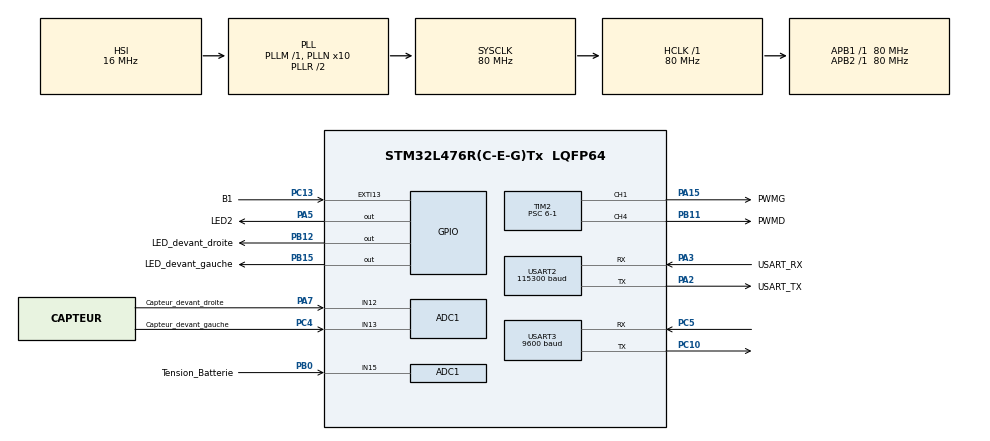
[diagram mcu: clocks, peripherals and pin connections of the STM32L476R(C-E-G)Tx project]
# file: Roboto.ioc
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ADC1.Channel-0\#ChannelRegularConversion=ADC_CHANNEL_15
ADC1.NbrOfConversionFlag=1
ADC1.OffsetNumber-0\#ChannelRegularConversion=ADC_OFFSET_NONE
ADC1.Rank-0\#ChannelRegularConversion=1
ADC1.SamplingTime-0\#ChannelRegularConversion=ADC_SAMPLETIME_640CYCLES_5
ADC1.master=1
Mcu.Family=STM32L4
Mcu.Name=STM32L476R(C-E-G)Tx
Mcu.Package=LQFP64
NVIC.ADC1_2_IRQn=true\:0\:0\:false\:false\:true\:true\:true\:true
NVIC.EXTI15_10_IRQn=true\:0\:0\:false\:false\:true\:true\:true\:true
NVIC.PriorityGroup=NVIC_PRIORITYGROUP_4
NVIC.TIM6_DAC_IRQn=true\:0\:0\:false\:false\:true\:true\:true\:true
PA13\ (JTMS-SWDIO).GPIO_Label=TMS
PA13\ (JTMS-SWDIO).Mode=Serial_Wire
PA13\ (JTMS-SWDIO).Signal=SYS_JTMS-SWDIO
PA14\ (JTCK-SWCLK).GPIO_Label=TCK
PA14\ (JTCK-SWCLK).Mode=Serial_Wire
PA14\ (JTCK-SWCLK).Signal=SYS_JTCK-SWCLK
PA15\ (JTDI).GPIO_Label=PWMG
PA15\ (JTDI).Signal=S_TIM2_CH1
PA2.GPIO_Label=USART_TX
PA2.GPIO_Mode=GPIO_MODE_AF_PP
PA2.GPIO_PuPd=GPIO_NOPULL
PA2.GPIO_Speed=GPIO_SPEED_FREQ_VERY_HIGH
PA2.Mode=Asynchronous
PA2.Signal=USART2_TX
PA3.GPIO_Label=USART_RX
PA3.GPIO_Mode=GPIO_MODE_AF_PP
PA3.GPIO_PuPd=GPIO_NOPULL
PA3.GPIO_Speed=GPIO_SPEED_FREQ_VERY_HIGH
PA3.Mode=Asynchronous
PA3.Signal=USART2_RX
PA5.GPIO_Label=LED2
PA5.Signal=GPIO_Output
PA7.GPIO_Label=Capteur_devant_droite
PA7.Signal=ADCx_IN12
PB0.GPIO_Label=Tension_Batterie
PB0.Signal=ADCx_IN15
PB11.GPIO_Label=PWMD
PB11.Signal=S_TIM2_CH4
PB12.GPIO_Label=LED_devant_droite
PB12.Signal=GPIO_Output
PB15.GPIO_Label=LED_devant_gauche
PB15.Signal=GPIO_Output
PB3\ (JTDO-TRACESWO).GPIO_Label=SWO
PB3\ (JTDO-TRACESWO).Signal=SYS_JTDO-SWO
PC10.Mode=Asynchronous
PC10.Signal=USART3_TX
PC13.GPIO_Label=B1
PC13.Signal=GPXTI13
PC14-OSC32_IN\ (PC14).Mode=LSE-External-Oscillator
PC14-OSC32_IN\ (PC14).Signal=RCC_OSC32_IN
PC15-OSC32_OUT\ (PC15).Mode=LSE-External-Oscillator
PC15-OSC32_OUT\ (PC15).Signal=RCC_OSC32_OUT
PC4.GPIO_Label=Capteur_devant_gauche
PC4.Signal=ADCx_IN13
PC5.Mode=Asynchronous
PC5.Signal=USART3_RX
PH0-OSC_IN\ (PH0).Signal=RCC_OSC_IN
PH1-OSC_OUT\ (PH1).Signal=RCC_OSC_OUT
ProjectManager.HeapSize=0x200
ProjectManager.StackSize=0x400
ProjectManager.TargetToolchain=STM32CubeIDE
RCC.ADCFreq_Value=64000000
RCC.AHBFreq_Value=80000000
RCC.APB1Freq_Value=80000000
RCC.APB1TimFreq_Value=80000000
RCC.APB2Freq_Value=80000000
RCC.APB2TimFreq_Value=80000000
RCC.CortexFreq_Value=80000000
RCC.HCLKFreq_Value=80000000
RCC.HSE_VALUE=8000000
RCC.HSI_VALUE=16000000
RCC.MSI_VALUE=4000000
RCC.PLLN=10
RCC.PLLSourceVirtual=RCC_PLLSOURCE_HSI
RCC.PREFETCH_ENABLE=1
RCC.SYSCLKFreq_VALUE=80000000
RCC.SYSCLKSource=RCC_SYSCLKSOURCE_PLLCLK
RCC.USART3CLockSelection=RCC_USART3CLKSOURCE_HSI
RCC.USBFreq_Value=64000000
RCC.VCOOutputFreq_Value=160000000
SH.ADCx_IN12.0=ADC1_IN12,IN12-Single-Ended
SH.ADCx_IN13.0=ADC1_IN13,IN13-Single-Ended
SH.ADCx_IN15.0=ADC1_IN15,IN15-Single-Ended
SH.S_TIM2_CH1.0=TIM2_CH1,PWM Generation1 CH1
SH.S_TIM2_CH4.0=TIM2_CH4,PWM Generation4 CH4
TIM2.Channel-PWM\ Generation1\ CH1=TIM_CHANNEL_1
TIM2.Channel-PWM\ Generation4\ CH4=TIM_CHANNEL_4
TIM2.Period=65536
TIM2.Prescaler=6-1
TIM6.Prescaler=2-1
USART2.BaudRate=115300
USART2.VirtualMode-Asynchronous=VM_ASYNC
USART3.BaudRate=9600
USART3.VirtualMode-Asynchronous=VM_ASYNC
VP_TIM2_VS_ClockSourceINT.Mode=Internal
VP_TIM6_VS_ClockSourceINT.Mode=Enable_Timer
board=NUCLEO-L476RG

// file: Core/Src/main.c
/* USER CODE BEGIN Header */
/**
  ******************************************************************************
  * @file           : main.c
  * @brief          : Main program body
  ******************************************************************************
  * @attention
  *
  * Copyright (c) 2024 STMicroelectronics.
  * All rights reserved.
  *
  * This software is licensed under terms that can be found in the LICENSE file
  * in the root directory of this software component.
  * If no LICENSE file comes with this software, it is provided AS-IS.
  *
  ******************************************************************************
  */
/* USER CODE END Header */
#include "main.h"

/* USER CODE BEGIN PD */
#define NO_MOVEMENT 0
#define FORWARD 1
#define LEFT 2
#define RIGHT 3
#define RAPPORT_CYCLIQUE 32768 // = 65536/2 aka rc = 50%
/* USER CODE END PD */

ADC_HandleTypeDef hadc1;

TIM_HandleTypeDef htim2;
TIM_HandleTypeDef htim6;

UART_HandleTypeDef huart2;
UART_HandleTypeDef huart3;

/* USER CODE BEGIN PV */
volatile uint8_t running;
volatile uint8_t movement_type;
// 0 = rien, 1 = tout droit, 1 = gauche, 2 = droite
/* USER CODE END PV */

void SystemClock_Config(void);
static void MX_GPIO_Init(void);
static void MX_USART2_UART_Init(void);
static void MX_ADC1_Init(void);
static void MX_TIM2_Init(void);
static void MX_TIM6_Init(void);
static void MX_USART3_UART_Init(void);

int main(void)
{

  /* USER CODE BEGIN 1 */
	running = 0;
	movement_type = NO_MOVEMENT;
  /* USER CODE END 1 */

  /* MCU Configuration--------------------------------------------------------*/

  /* Reset of all peripherals, Initializes the Flash interface and the Systick. */
  HAL_Init();

  /* Configure the system clock */
  SystemClock_Config();

  /* Initialize all configured peripherals */
  MX_GPIO_Init();
  MX_USART2_UART_Init();
  MX_ADC1_Init();
  MX_TIM2_Init();
  MX_TIM6_Init();
  MX_USART3_UART_Init();
  /* USER CODE BEGIN 2 */
  HAL_TIM_PWM_Start(&htim2, TIM_CHANNEL_1);
  HAL_TIM_PWM_Start(&htim2, TIM_CHANNEL_4);

  /* USER CODE END 2 */

  /* Infinite loop */
  /* USER CODE BEGIN WHILE */
  while (1)
  {
	  // robot movement
	  if(movement_type == NO_MOVEMENT){
		  __HAL_TIM_SET_COMPARE(&htim2, TIM_CHANNEL_1, 0);
		  __HAL_TIM_SET_COMPARE(&htim2, TIM_CHANNEL_4, 0);
	  }
	  else if(movement_type == FORWARD){
		  __HAL_TIM_SET_COMPARE(&htim2, TIM_CHANNEL_1, RAPPORT_CYCLIQUE);
		  __HAL_TIM_SET_COMPARE(&htim2, TIM_CHANNEL_4, RAPPORT_CYCLIQUE);
	  }
	  else if(movement_type == LEFT){
		  __HAL_TIM_SET_COMPARE(&htim2, TIM_CHANNEL_1, RAPPORT_CYCLIQUE);
		  __HAL_TIM_SET_COMPARE(&htim2, TIM_CHANNEL_4, RAPPORT_CYCLIQUE);
	  }
	  else if(movement_type == RIGHT){ //RIGHT
		  __HAL_TIM_SET_COMPARE(&htim2, TIM_CHANNEL_1, RAPPORT_CYCLIQUE);
		  __HAL_TIM_SET_COMPARE(&htim2, TIM_CHANNEL_4, RAPPORT_CYCLIQUE);
	  }

	  //is the robot running
	  if (running) {
		  HAL_GPIO_WritePin(LED2_GPIO_Port, LED2_Pin, SET);
		  movement_type = FORWARD;
	  }
	  else{
		  HAL_GPIO_WritePin(LED2_GPIO_Port, LED2_Pin, RESET);
		  movement_type = NO_MOVEMENT;
	  }
    /* USER CODE END WHILE */

  }
}

void SystemClock_Config(void)
{
  RCC_OscInitTypeDef RCC_OscInitStruct = {0};
  RCC_ClkInitTypeDef RCC_ClkInitStruct = {0};

  /** Configure the main internal regulator output voltage
  */
  if (HAL_PWREx_ControlVoltageScaling(PWR_REGULATOR_VOLTAGE_SCALE1) != HAL_OK)
  {
    Error_Handler();
  }

  /** Initializes the RCC Oscillators according to the specified parameters
  * in the RCC_OscInitTypeDef structure.
  */
  RCC_OscInitStruct.OscillatorType = RCC_OSCILLATORTYPE_HSI;
  RCC_OscInitStruct.HSIState = RCC_HSI_ON;
  RCC_OscInitStruct.HSICalibrationValue = RCC_HSICALIBRATION_DEFAULT;
  RCC_OscInitStruct.PLL.PLLState = RCC_PLL_ON;
  RCC_OscInitStruct.PLL.PLLSource = RCC_PLLSOURCE_HSI;
  RCC_OscInitStruct.PLL.PLLM = 1;
  RCC_OscInitStruct.PLL.PLLN = 10;
  RCC_OscInitStruct.PLL.PLLP = RCC_PLLP_DIV7;
  RCC_OscInitStruct.PLL.PLLQ = RCC_PLLQ_DIV2;
  RCC_OscInitStruct.PLL.PLLR = RCC_PLLR_DIV2;
  if (HAL_RCC_OscConfig(&RCC_OscInitStruct) != HAL_OK)
  {
    Error_Handler();
  }

  /** Initializes the CPU, AHB and APB buses clocks
  */
  RCC_ClkInitStruct.ClockType = RCC_CLOCKTYPE_HCLK|RCC_CLOCKTYPE_SYSCLK
                              |RCC_CLOCKTYPE_PCLK1|RCC_CLOCKTYPE_PCLK2;
  RCC_ClkInitStruct.SYSCLKSource = RCC_SYSCLKSOURCE_PLLCLK;
  RCC_ClkInitStruct.AHBCLKDivider = RCC_SYSCLK_DIV1;
  RCC_ClkInitStruct.APB1CLKDivider = RCC_HCLK_DIV1;
  RCC_ClkInitStruct.APB2CLKDivider = RCC_HCLK_DIV1;

  if (HAL_RCC_ClockConfig(&RCC_ClkInitStruct, FLASH_LATENCY_4) != HAL_OK)
  {
    Error_Handler();
  }
}

static void MX_ADC1_Init(void)
{

  ADC_MultiModeTypeDef multimode = {0};
  ADC_ChannelConfTypeDef sConfig = {0};

  /** Common config
  */
  hadc1.Instance = ADC1;
  hadc1.Init.ClockPrescaler = ADC_CLOCK_ASYNC_DIV1;
  hadc1.Init.Resolution = ADC_RESOLUTION_12B;
  hadc1.Init.DataAlign = ADC_DATAALIGN_RIGHT;
  hadc1.Init.ScanConvMode = ADC_SCAN_DISABLE;
  hadc1.Init.EOCSelection = ADC_EOC_SINGLE_CONV;
  hadc1.Init.LowPowerAutoWait = DISABLE;
  hadc1.Init.ContinuousConvMode = DISABLE;
  hadc1.Init.NbrOfConversion = 1;
  hadc1.Init.DiscontinuousConvMode = DISABLE;
  hadc1.Init.ExternalTrigConv = ADC_SOFTWARE_START;
  hadc1.Init.ExternalTrigConvEdge = ADC_EXTERNALTRIGCONVEDGE_NONE;
  hadc1.Init.DMAContinuousRequests = DISABLE;
  hadc1.Init.Overrun = ADC_OVR_DATA_PRESERVED;
  hadc1.Init.OversamplingMode = DISABLE;
  if (HAL_ADC_Init(&hadc1) != HAL_OK)
  {
    Error_Handler();
  }

  /** Configure the ADC multi-mode
  */
  multimode.Mode = ADC_MODE_INDEPENDENT;
  if (HAL_ADCEx_MultiModeConfigChannel(&hadc1, &multimode) != HAL_OK)
  {
    Error_Handler();
  }

  /** Configure Regular Channel
  */
  sConfig.Channel = ADC_CHANNEL_15;
  sConfig.Rank = ADC_REGULAR_RANK_1;
  sConfig.SamplingTime = ADC_SAMPLETIME_640CYCLES_5;
  sConfig.SingleDiff = ADC_SINGLE_ENDED;
  sConfig.OffsetNumber = ADC_OFFSET_NONE;
  sConfig.Offset = 0;
  if (HAL_ADC_ConfigChannel(&hadc1, &sConfig) != HAL_OK)
  {
    Error_Handler();
  }

}

static void MX_TIM2_Init(void)
{

  TIM_ClockConfigTypeDef sClockSourceConfig = {0};
  TIM_MasterConfigTypeDef sMasterConfig = {0};
  TIM_OC_InitTypeDef sConfigOC = {0};

  htim2.Instance = TIM2;
  htim2.Init.Prescaler = 6-1;
  htim2.Init.CounterMode = TIM_COUNTERMODE_UP;
  htim2.Init.Period = 65536;
  htim2.Init.ClockDivision = TIM_CLOCKDIVISION_DIV1;
  htim2.Init.AutoReloadPreload = TIM_AUTORELOAD_PRELOAD_DISABLE;
  if (HAL_TIM_Base_Init(&htim2) != HAL_OK)
  {
    Error_Handler();
  }
  sClockSourceConfig.ClockSource = TIM_CLOCKSOURCE_INTERNAL;
  if (HAL_TIM_ConfigClockSource(&htim2, &sClockSourceConfig) != HAL_OK)
  {
    Error_Handler();
  }
  if (HAL_TIM_PWM_Init(&htim2) != HAL_OK)
  {
    Error_Handler();
  }
  sMasterConfig.MasterOutputTrigger = TIM_TRGO_RESET;
  sMasterConfig.MasterSlaveMode = TIM_MASTERSLAVEMODE_DISABLE;
  if (HAL_TIMEx_MasterConfigSynchronization(&htim2, &sMasterConfig) != HAL_OK)
  {
    Error_Handler();
  }
  sConfigOC.OCMode = TIM_OCMODE_PWM1;
  sConfigOC.Pulse = 0;
  sConfigOC.OCPolarity = TIM_OCPOLARITY_HIGH;
  sConfigOC.OCFastMode = TIM_OCFAST_DISABLE;
  if (HAL_TIM_PWM_ConfigChannel(&htim2, &sConfigOC, TIM_CHANNEL_1) != HAL_OK)
  {
    Error_Handler();
  }
  if (HAL_TIM_PWM_ConfigChannel(&htim2, &sConfigOC, TIM_CHANNEL_4) != HAL_OK)
  {
    Error_Handler();
  }
  HAL_TIM_MspPostInit(&htim2);

}

static void MX_TIM6_Init(void)
{

  TIM_MasterConfigTypeDef sMasterConfig = {0};

  htim6.Instance = TIM6;
  htim6.Init.Prescaler = 2-1;
  htim6.Init.CounterMode = TIM_COUNTERMODE_UP;
  htim6.Init.Period = 65535;
  htim6.Init.AutoReloadPreload = TIM_AUTORELOAD_PRELOAD_DISABLE;
  if (HAL_TIM_Base_Init(&htim6) != HAL_OK)
  {
    Error_Handler();
  }
  sMasterConfig.MasterOutputTrigger = TIM_TRGO_RESET;
  sMasterConfig.MasterSlaveMode = TIM_MASTERSLAVEMODE_DISABLE;
  if (HAL_TIMEx_MasterConfigSynchronization(&htim6, &sMasterConfig) != HAL_OK)
  {
    Error_Handler();
  }

}

static void MX_USART2_UART_Init(void)
{

  huart2.Instance = USART2;
  huart2.Init.BaudRate = 115300;
  huart2.Init.WordLength = UART_WORDLENGTH_8B;
  huart2.Init.StopBits = UART_STOPBITS_1;
  huart2.Init.Parity = UART_PARITY_NONE;
  huart2.Init.Mode = UART_MODE_TX_RX;
  huart2.Init.HwFlowCtl = UART_HWCONTROL_NONE;
  huart2.Init.OverSampling = UART_OVERSAMPLING_16;
  huart2.Init.OneBitSampling = UART_ONE_BIT_SAMPLE_DISABLE;
  huart2.AdvancedInit.AdvFeatureInit = UART_ADVFEATURE_NO_INIT;
  if (HAL_UART_Init(&huart2) != HAL_OK)
  {
    Error_Handler();
  }

}

static void MX_USART3_UART_Init(void)
{

  huart3.Instance = USART3;
  huart3.Init.BaudRate = 9600;
  huart3.Init.WordLength = UART_WORDLENGTH_8B;
  huart3.Init.StopBits = UART_STOPBITS_1;
  huart3.Init.Parity = UART_PARITY_NONE;
  huart3.Init.Mode = UART_MODE_TX_RX;
  huart3.Init.HwFlowCtl = UART_HWCONTROL_NONE;
  huart3.Init.OverSampling = UART_OVERSAMPLING_16;
  huart3.Init.OneBitSampling = UART_ONE_BIT_SAMPLE_DISABLE;
  huart3.AdvancedInit.AdvFeatureInit = UART_ADVFEATURE_NO_INIT;
  if (HAL_UART_Init(&huart3) != HAL_OK)
  {
    Error_Handler();
  }

}

static void MX_GPIO_Init(void)
{
  GPIO_InitTypeDef GPIO_InitStruct = {0};

  /* GPIO Ports Clock Enable */
  __HAL_RCC_GPIOC_CLK_ENABLE();
  __HAL_RCC_GPIOH_CLK_ENABLE();
  __HAL_RCC_GPIOA_CLK_ENABLE();
  __HAL_RCC_GPIOB_CLK_ENABLE();

  /*Configure GPIO pin Output Level */
  HAL_GPIO_WritePin(LED2_GPIO_Port, LED2_Pin, GPIO_PIN_RESET);

  /*Configure GPIO pin Output Level */
  HAL_GPIO_WritePin(GPIOB, LED_devant_droite_Pin|LED_devant_gauche_Pin, GPIO_PIN_RESET);

  /*Configure GPIO pin : B1_Pin */
  GPIO_InitStruct.Pin = B1_Pin;
  GPIO_InitStruct.Mode = GPIO_MODE_IT_RISING;
  GPIO_InitStruct.Pull = GPIO_NOPULL;
  HAL_GPIO_Init(B1_GPIO_Port, &GPIO_InitStruct);

  /*Configure GPIO pin : LED2_Pin */
  GPIO_InitStruct.Pin = LED2_Pin;
  GPIO_InitStruct.Mode = GPIO_MODE_OUTPUT_PP;
  GPIO_InitStruct.Pull = GPIO_NOPULL;
  GPIO_InitStruct.Speed = GPIO_SPEED_FREQ_LOW;
  HAL_GPIO_Init(LED2_GPIO_Port, &GPIO_InitStruct);

  /*Configure GPIO pins : LED_devant_droite_Pin LED_devant_gauche_Pin */
  GPIO_InitStruct.Pin = LED_devant_droite_Pin|LED_devant_gauche_Pin;
  GPIO_InitStruct.Mode = GPIO_MODE_OUTPUT_PP;
  GPIO_InitStruct.Pull = GPIO_NOPULL;
  GPIO_InitStruct.Speed = GPIO_SPEED_FREQ_LOW;
  HAL_GPIO_Init(GPIOB, &GPIO_InitStruct);

  /* EXTI interrupt init*/
  HAL_NVIC_SetPriority(EXTI15_10_IRQn, 0, 0);
  HAL_NVIC_EnableIRQ(EXTI15_10_IRQn);

}

/* USER CODE BEGIN 4 */
void HAL_GPIO_EXTI_Callback(uint16_t GPIO_Pin)
{
  /* Prevent unused argument(s) compilation warning */
 if (GPIO_Pin == B1_Pin)
	 running = !running;

  /* NOTE: This function should not be modified, when the callback is needed,
           the HAL_GPIO_EXTI_Callback could be implemented in the user file
   */
}
/* USER CODE END 4 */

void Error_Handler(void)
{
  __disable_irq();
  while (1)
  {
  }
}
